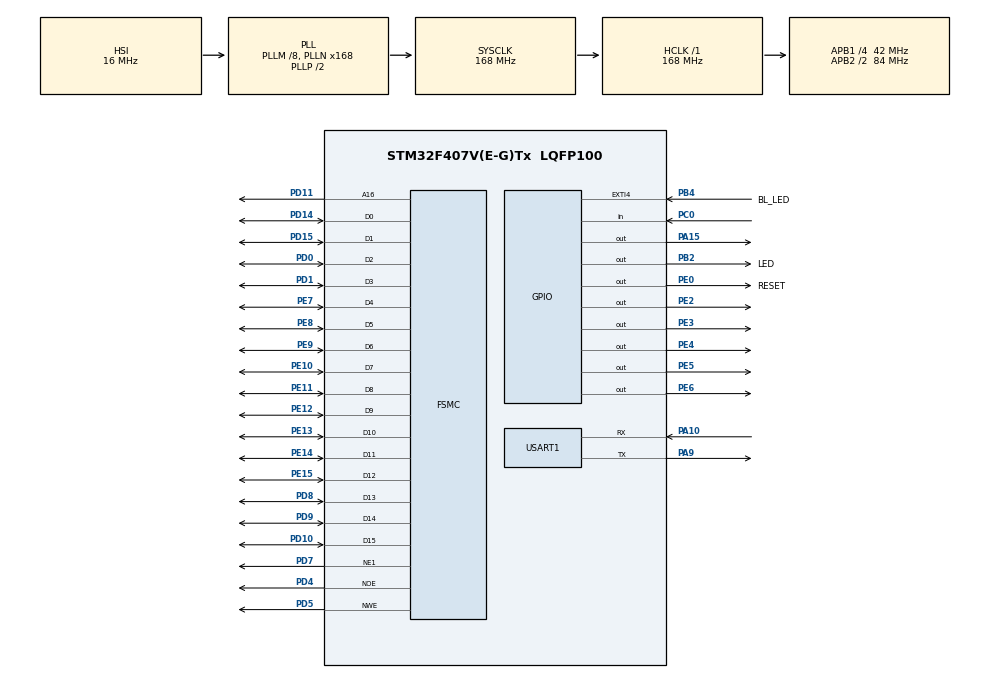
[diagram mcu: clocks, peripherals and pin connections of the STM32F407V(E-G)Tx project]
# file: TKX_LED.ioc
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FREERTOS.Tasks01=defaultTask,24,128,StartDefaultTask,Default,NULL,Dynamic,NULL,NULL
FSMC.AddressSetupTime1=2
FSMC.BusTurnAroundDuration1=0
FSMC.DataSetupTime1=5
FSMC.ExtendedAddressSetupTime1=0
FSMC.ExtendedBusTurnAroundDuration1=0
FSMC.ExtendedDataSetupTime1=5
FSMC.ExtendedMode1=FSMC_EXTENDED_MODE_ENABLE
Mcu.Family=STM32F4
Mcu.Name=STM32F407V(E-G)Tx
Mcu.Package=LQFP100
NVIC.PriorityGroup=NVIC_PRIORITYGROUP_4
PA10.Mode=Asynchronous
PA10.Signal=USART1_RX
PA13.Mode=Serial_Wire
PA13.Signal=SYS_JTMS-SWDIO
PA14.Mode=Serial_Wire
PA14.Signal=SYS_JTCK-SWCLK
PA15.Signal=GPIO_Output
PA9.Mode=Asynchronous
PA9.Signal=USART1_TX
PB2.GPIO_Label=LED
PB2.GPIO_Speed=GPIO_SPEED_FREQ_LOW
PB2.PinState=GPIO_PIN_RESET
PB2.Signal=GPIO_Output
PB4.GPIO_Label=BL_LED
PB4.Signal=GPXTI4
PC0.Signal=GPIO_Input
PD0.Mode=16b-d1
PD0.Signal=FSMC_D2
PD1.Mode=16b-d1
PD1.Signal=FSMC_D3
PD10.Mode=16b-d1
PD10.Signal=FSMC_D15
PD11.Mode=A16_1
PD11.Signal=FSMC_A16
PD14.Mode=16b-d1
PD14.Signal=FSMC_D0
PD15.Mode=16b-d1
PD15.Signal=FSMC_D1
PD4.Mode=Lcd1
PD4.Signal=FSMC_NOE
PD5.Mode=Lcd1
PD5.Signal=FSMC_NWE
PD7.Mode=NorPsramChipSelect1_1
PD7.Signal=FSMC_NE1
PD8.Mode=16b-d1
PD8.Signal=FSMC_D13
PD9.Mode=16b-d1
PD9.Signal=FSMC_D14
PE0.GPIO_Label=RESET
PE0.PinState=GPIO_PIN_SET
PE0.Signal=GPIO_Output
PE10.Mode=16b-d1
PE10.Signal=FSMC_D7
PE11.Mode=16b-d1
PE11.Signal=FSMC_D8
PE12.Mode=16b-d1
PE12.Signal=FSMC_D9
PE13.Mode=16b-d1
PE13.Signal=FSMC_D10
PE14.Mode=16b-d1
PE14.Signal=FSMC_D11
PE15.Mode=16b-d1
PE15.Signal=FSMC_D12
PE2.GPIO_Speed=GPIO_SPEED_FREQ_VERY_HIGH
PE2.Signal=GPIO_Output
PE3.GPIO_Speed=GPIO_SPEED_FREQ_VERY_HIGH
PE3.Signal=GPIO_Output
PE4.GPIO_Speed=GPIO_SPEED_FREQ_VERY_HIGH
PE4.Signal=GPIO_Output
PE5.GPIO_Speed=GPIO_SPEED_FREQ_VERY_HIGH
PE5.Signal=GPIO_Output
PE6.GPIO_Speed=GPIO_SPEED_FREQ_VERY_HIGH
PE6.Signal=GPIO_Output
PE7.Mode=16b-d1
PE7.Signal=FSMC_D4
PE8.Mode=16b-d1
PE8.Signal=FSMC_D5
PE9.Mode=16b-d1
PE9.Signal=FSMC_D6
PH0-OSC_IN.Mode=HSE-External-Oscillator
PH0-OSC_IN.Signal=RCC_OSC_IN
PH1-OSC_OUT.Mode=HSE-External-Oscillator
PH1-OSC_OUT.Signal=RCC_OSC_OUT
ProjectManager.HeapSize=0x200
ProjectManager.StackSize=0x400
ProjectManager.TargetToolchain=MDK-ARM V5.32
RCC.48MHZClocksFreq_Value=84000000
RCC.AHBFreq_Value=168000000
RCC.APB1CLKDivider=RCC_HCLK_DIV4
RCC.APB1Freq_Value=42000000
RCC.APB1TimFreq_Value=84000000
RCC.APB2CLKDivider=RCC_HCLK_DIV2
RCC.APB2Freq_Value=84000000
RCC.APB2TimFreq_Value=168000000
RCC.CortexFreq_Value=168000000
RCC.HCLKFreq_Value=168000000
RCC.HSE_VALUE=8000000
RCC.HSI_VALUE=16000000
RCC.LSE_VALUE=32768
RCC.PLLM=8
RCC.PLLN=168
RCC.SYSCLKFreq_VALUE=168000000
RCC.SYSCLKSource=RCC_SYSCLKSOURCE_PLLCLK
RCC.VCOOutputFreq_Value=336000000
USART1.VirtualMode=VM_ASYNC
VP_FREERTOS_VS_CMSIS_V2.Mode=CMSIS_V2
board=custom

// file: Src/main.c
/* USER CODE BEGIN Header */
/**
  ******************************************************************************
  * @file           : main.c
  * @brief          : Main program body
  ******************************************************************************
  * @attention
  *
  * Copyright (c) 2025 STMicroelectronics.
  * All rights reserved.
  *
  * This software is licensed under terms that can be found in the LICENSE file
  * in the root directory of this software component.
  * If no LICENSE file comes with this software, it is provided AS-IS.
  *
  ******************************************************************************
  */
/* USER CODE END Header */
#include "main.h"
#include "cmsis_os.h"
#include "usart.h"
#include "gpio.h"
#include "fsmc.h"

void SystemClock_Config(void);
void MX_FREERTOS_Init(void);

int main(void)
{

  /* MCU Configuration--------------------------------------------------------*/

  /* Reset of all peripherals, Initializes the Flash interface and the Systick. */
  HAL_Init();

  /* Configure the system clock */
  SystemClock_Config();

  /* Initialize all configured peripherals */
  MX_GPIO_Init();
  MX_USART1_UART_Init();
  MX_FSMC_Init();

  /* Init scheduler */
  osKernelInitialize();

  /* Call init function for freertos objects (in cmsis_os2.c) */
  MX_FREERTOS_Init();

  /* Start scheduler */
  osKernelStart();

  /* We should never get here as control is now taken by the scheduler */

  /* Infinite loop */
  while (1)
  {

  }
}

void SystemClock_Config(void)
{
  RCC_OscInitTypeDef RCC_OscInitStruct = {0};
  RCC_ClkInitTypeDef RCC_ClkInitStruct = {0};

  /** Configure the main internal regulator output voltage
  */
  __HAL_RCC_PWR_CLK_ENABLE();
  __HAL_PWR_VOLTAGESCALING_CONFIG(PWR_REGULATOR_VOLTAGE_SCALE1);

  /** Initializes the RCC Oscillators according to the specified parameters
  * in the RCC_OscInitTypeDef structure.
  */
  RCC_OscInitStruct.OscillatorType = RCC_OSCILLATORTYPE_HSI;
  RCC_OscInitStruct.HSIState = RCC_HSI_ON;
  RCC_OscInitStruct.HSICalibrationValue = RCC_HSICALIBRATION_DEFAULT;
  RCC_OscInitStruct.PLL.PLLState = RCC_PLL_ON;
  RCC_OscInitStruct.PLL.PLLSource = RCC_PLLSOURCE_HSI;
  RCC_OscInitStruct.PLL.PLLM = 8;
  RCC_OscInitStruct.PLL.PLLN = 168;
  RCC_OscInitStruct.PLL.PLLP = RCC_PLLP_DIV2;
  RCC_OscInitStruct.PLL.PLLQ = 4;
  if (HAL_RCC_OscConfig(&RCC_OscInitStruct) != HAL_OK)
  {
    Error_Handler();
  }

  /** Initializes the CPU, AHB and APB buses clocks
  */
  RCC_ClkInitStruct.ClockType = RCC_CLOCKTYPE_HCLK|RCC_CLOCKTYPE_SYSCLK
                              |RCC_CLOCKTYPE_PCLK1|RCC_CLOCKTYPE_PCLK2;
  RCC_ClkInitStruct.SYSCLKSource = RCC_SYSCLKSOURCE_PLLCLK;
  RCC_ClkInitStruct.AHBCLKDivider = RCC_SYSCLK_DIV1;
  RCC_ClkInitStruct.APB1CLKDivider = RCC_HCLK_DIV4;
  RCC_ClkInitStruct.APB2CLKDivider = RCC_HCLK_DIV2;

  if (HAL_RCC_ClockConfig(&RCC_ClkInitStruct, FLASH_LATENCY_5) != HAL_OK)
  {
    Error_Handler();
  }
}

void Error_Handler(void)
{
  __disable_irq();
  while (1)
  {
  }
}

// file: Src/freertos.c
/* USER CODE BEGIN Header */
/**
  ******************************************************************************
  * File Name          : freertos.c
  * Description        : Code for freertos applications
  ******************************************************************************
  * @attention
  *
  * Copyright (c) 2025 STMicroelectronics.
  * All rights reserved.
  *
  * This software is licensed under terms that can be found in the LICENSE file
  * in the root directory of this software component.
  * If no LICENSE file comes with this software, it is provided AS-IS.
  *
  ******************************************************************************
  */
/* USER CODE END Header */

#include "FreeRTOS.h"
#include "task.h"
#include "main.h"
#include "cmsis_os.h"

/* USER CODE BEGIN Includes */
#include "74HC595.h"
#include "74HC165.h"

#include "tftlcd.h"

/* USER CODE END Includes */

/* Definitions for defaultTask */
osThreadId_t defaultTaskHandle;
const osThreadAttr_t defaultTask_attributes = {
  .name = "defaultTask",
  .stack_size = 128 * 8,
  .priority = (osPriority_t) osPriorityNormal,
};

void StartDefaultTask(void *argument);

void MX_FREERTOS_Init(void); /* (MISRA C 2004 rule 8.1) */

void MX_FREERTOS_Init(void) {

  /* Create the thread(s) */
  /* creation of defaultTask */
  defaultTaskHandle = osThreadNew(StartDefaultTask, NULL, &defaultTask_attributes);

}

void StartDefaultTask(void *argument)
{
  /* USER CODE BEGIN StartDefaultTask */

  uint8_t lcd_id[12];

  HC595_Init(); // Initialize the 74HC595
  HC165_Init(); // Initialize the 74HC165
  uint8_t ioState[3] = {0}; // Buffer to store the state of the 74HC165
  lcd_init(); // Initialize the LCD

    // 创建颜色表
  const uint16_t colorTable[] = {
      WHITE,      // 白色
      BLACK,      // 黑色
      RED,        // 红色
      GREEN,      // 绿色
      BLUE,       // 蓝色
      MAGENTA,    // 品红色/紫红色
      YELLOW,     // 黄色
      CYAN,       // 青色
      BROWN,      // 棕色
      BRRED,      // 棕红色
      GRAY,       // 灰色
      DARKBLUE,   // 深蓝色
      LIGHTBLUE,  // 浅蓝色
      GRAYBLUE,   // 灰蓝色
      LIGHTGREEN, // 浅绿色
      LGRAY,      // 浅灰色
      LGRAYBLUE,  // 浅灰蓝色
      LBBLUE      // 浅棕蓝色
  };

  // 颜色表大小
  const uint8_t colorTableSize = sizeof(colorTable) / sizeof(colorTable[0]);

  // 颜色名称表
  const char *colorNames[] = {
      "WHITE",
      "BLACK",
      "RED",
      "GREEN",
      "BLUE",
      "MAGENTA",
      "YELLOW",
      "CYAN",
      "BROWN",
      "BRRED",
      "GRAY",
      "DARKBLUE",
      "LIGHTBLUE",
      "GRAYBLUE",
      "LIGHTGREEN",
      "LGRAY",
      "LGRAYBLUE",
      "LBBLUE"
  };

  // 当前颜色索引
  uint8_t currentColorIndex = 0;

  // sprintf((char *)lcd_id, "LCD ID:%04X", lcddev.id);  /* 将LCD ID打印到lcd_id数组 */
  // lcd_show_string(10, 40, 240, 32, 32, "STM32", RED);
  // lcd_show_string(10, 80, 240, 24, 24, "TFTLCD TEST", RED);
  // lcd_show_string(10, 110, 240, 16, 16, "ATOM@ALIENTEK", RED);
  // lcd_show_string(10, 130, 240, 16, 16, (char *)lcd_id, RED); /* 显示LCD ID */

  /* Infinite loop */
  for(;;)
  {
      // 刷屏 - 使用表驱动法切换颜色
    // lcd_clear(colorTable[currentColorIndex]);

    // 选择对比色作为文字颜色(确保文字可见)
    uint16_t textColor = (colorTable[currentColorIndex] == WHITE ||
                           colorTable[currentColorIndex] == YELLOW ||
                           colorTable[currentColorIndex] == CYAN ||
                           colorTable[currentColorIndex] == LIGHTGREEN) ? BLACK : WHITE;

    // 显示当前颜色名称
    char colorInfo[30];
    sprintf(colorInfo, "Color: %s", colorNames[currentColorIndex]);
    // lcd_show_string(10, 10, 220, 24, 16, colorInfo, textColor);

    currentColorIndex = (currentColorIndex + 1) % colorTableSize;

    HAL_GPIO_TogglePin(LED_GPIO_Port, LED_Pin);
    HC595_ToggleIO(0); // Toggle the first IO
    HC595_ToggleIO(1); // Toggle the first IO
    HC595_ToggleIO(2); // Toggle the first IO
    HC595_ToggleIO(3); // Toggle the first IO
    HC595_ToggleIO(4); // Toggle the first IO
    HC165_ReadMultiBytes(ioState, 3); // Read the state of the 74HC165
    // Display the state on the LCD

    printf("IO State: %02X %02X %02X\n", ioState[0], ioState[1], ioState[2]); // Print the state
    lcd_show_string(10, 10, 220, 24, 16, "IO State:", BLACK);
    lcd_show_string(10, 40, 220, 24, 16, "IO0:", BLACK);
    lcd_show_num(80, 40, ioState[0], 2, 16, BLACK);
    lcd_show_string(10, 70, 220, 24, 16, "IO1:", BLACK);
    lcd_show_num(80, 70, ioState[1], 2, 16, BLACK);
    lcd_show_string(10, 100, 220, 24, 16, "IO2:", BLACK);
    lcd_show_num(80, 100, ioState[2], 2, 16, BLACK);
    osDelay(100);
  }
  /* USER CODE END StartDefaultTask */
}
